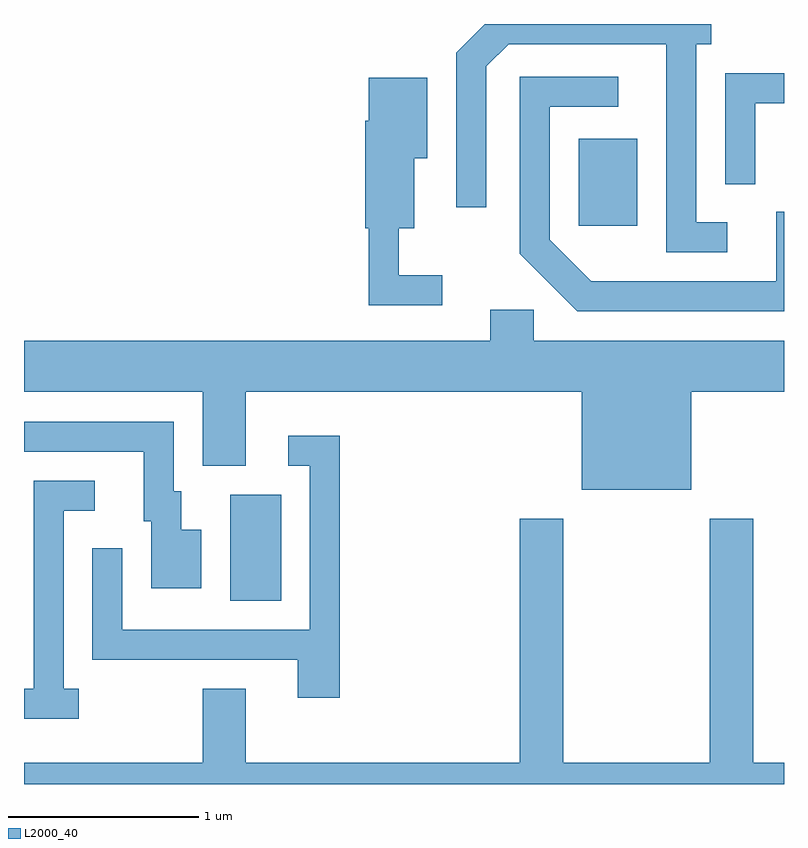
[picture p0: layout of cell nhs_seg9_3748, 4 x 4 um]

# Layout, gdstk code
import gdstk
lib = gdstk.Library(unit=1e-6, precision=1e-09)
def R(c, l, rs):  # rectangles x0, y0, x1, y1
    for r in rs: c.add(gdstk.rectangle(r[:2], r[2:], *l))
def P(c, l, *ps):  # polygons
    for p in ps: c.add(gdstk.Polygon(p, *l))
L2000_40 = (2000, 40)

nhs_seg9_3748 = lib.new_cell('nhs_seg9_3748')
R(nhs_seg9_3748, L2000_40, [(296.696,1977.396,296.964,1977.954), (298.531,1979.371,298.839,1979.829)])
P(nhs_seg9_3748, L2000_40, [(299.313,1979.389),(299.149,1979.389),(299.149,1980.326),(299.228,1980.326),(299.228,1980.432),(298.037,1980.432),(297.886,1980.282),(297.886,1979.468),(298.044,1979.468),(298.044,1980.209),(298.162,1980.326),(298.991,1980.326),(298.991,1979.231),(299.313,1979.231)],
  [(299.459,1980.016),(299.611,1980.016),(299.611,1980.174),(299.301,1980.174),(299.301,1979.588),(299.459,1979.588)],
  [(299.611,1979.444),(299.571,1979.444),(299.571,1979.079),(298.597,1979.079),(298.379,1979.297),(298.379,1979.996),(298.738,1979.996),(298.738,1980.154),(298.221,1980.154),(298.221,1979.224),(298.524,1978.921),(299.611,1978.921)],
  [(297.813,1979.109),(297.584,1979.109),(297.584,1979.356),(297.664,1979.356),(297.664,1979.726),(297.734,1979.726),(297.734,1980.149),(297.426,1980.149),(297.426,1979.924),(297.406,1979.924),(297.406,1979.356),(297.426,1979.356),(297.426,1978.951),(297.813,1978.951)],
  [(299.124,1978.496),(299.611,1978.496),(299.611,1978.764),(298.294,1978.764),(298.294,1978.929),(298.066,1978.929),(298.066,1978.764),(295.611,1978.764),(295.611,1978.496),(296.551,1978.496),(296.551,1978.106),(296.779,1978.106),(296.779,1978.496),(298.546,1978.496),(298.546,1977.981),(299.124,1977.981)],
  [(296.544,1977.769),(296.439,1977.769),(296.439,1977.974),(296.399,1977.974),(296.399,1978.339),(295.611,1978.339),(295.611,1978.181),(296.241,1978.181),(296.241,1977.816),(296.281,1977.816),(296.281,1977.461),(296.544,1977.461)],
  [(297.274,1978.264),(297.003,1978.264),(297.003,1978.106),(297.116,1978.106),(297.116,1977.244),(296.129,1977.244),(296.129,1977.673),(295.971,1977.673),(295.971,1977.086),(297.051,1977.086),(297.051,1976.886),(297.274,1976.886)],
  [(295.898,1976.934),(295.819,1976.934),(295.819,1977.871),(295.983,1977.871),(295.983,1978.029),(295.661,1978.029),(295.661,1976.934),(295.611,1976.934),(295.611,1976.776),(295.898,1976.776)],
  [(299.611,1976.544),(299.449,1976.544),(299.449,1977.829),(299.221,1977.829),(299.221,1976.544),(298.449,1976.544),(298.449,1977.829),(298.221,1977.829),(298.221,1976.544),(296.779,1976.544),(296.779,1976.934),(296.551,1976.934),(296.551,1976.544),(295.611,1976.544),(295.611,1976.432),(299.611,1976.432)])

lib.write_gds('nhs_seg9_3748.gds')
